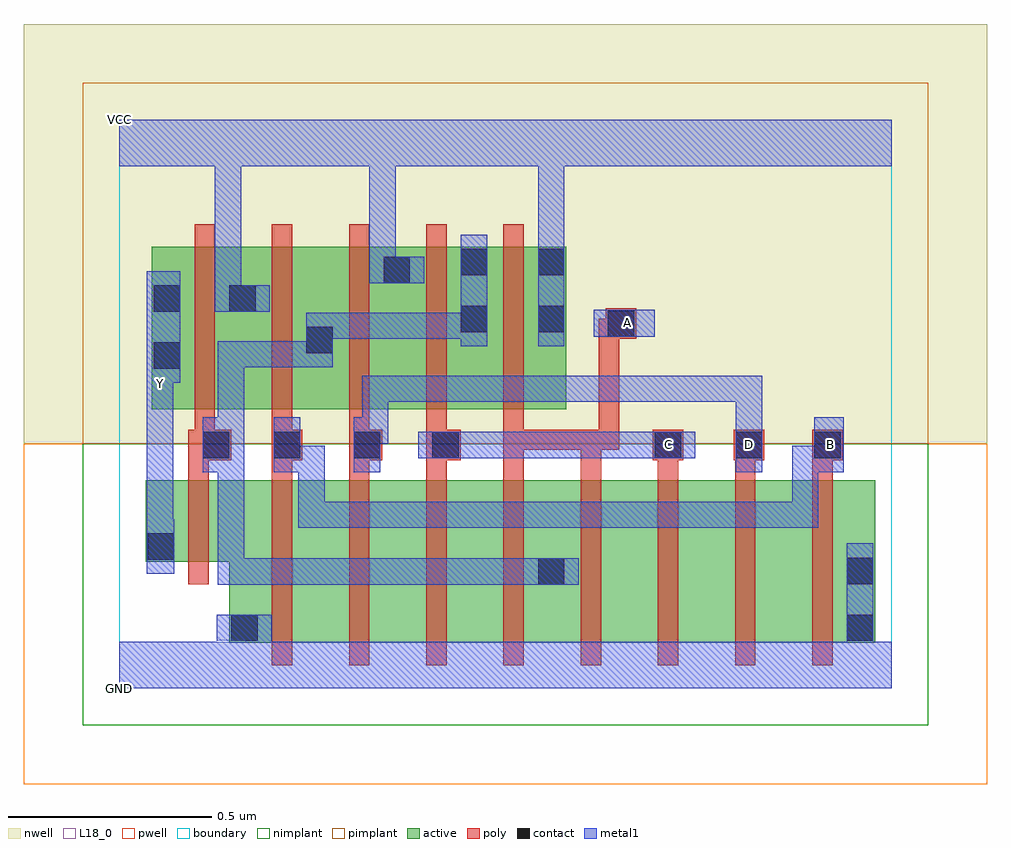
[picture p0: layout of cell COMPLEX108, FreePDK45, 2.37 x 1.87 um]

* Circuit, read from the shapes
.subckt COMPLEX108 A B C D GND VCC Y
M1 GND n1 Y VSUBS nfet w=0.2u l=0.05u
M2 n2 B GND VSUBS nfet w=0.4u l=0.05u
M3 n3 D n2 VSUBS nfet w=0.4u l=0.05u
M4 n4 C n3 VSUBS nfet w=0.4u l=0.05u
M5 n1 A n4 VSUBS nfet w=0.4u l=0.05u
M6 n5 A n1 VSUBS nfet w=0.4u l=0.05u
M7 n6 C n5 VSUBS nfet w=0.4u l=0.05u
M8 n7 D n6 VSUBS nfet w=0.4u l=0.05u
M9 GND B n7 VSUBS nfet w=0.4u l=0.05u
M10 VCC n1 Y n8 pfet w=0.4u l=0.05u
M11 n1 B VCC n8 pfet w=0.4u l=0.05u
M12 VCC D n1 n8 pfet w=0.4u l=0.05u
M13 n1 C VCC n8 pfet w=0.4u l=0.05u
M14 VCC A n1 n8 pfet w=0.4u l=0.05u
.ends

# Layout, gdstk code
import gdstk
lib = gdstk.Library(unit=1e-6, precision=1e-09)
def R(c, l, rs):  # rectangles x0, y0, x1, y1
    for r in rs: c.add(gdstk.rectangle(r[:2], r[2:], *l))
def A(c, l, x, y, w, h, nx, ny, dx, dy):  # array of equal rectangles
    R(c, l, [(x+i*dx, y+j*dy, x+i*dx+w, y+j*dy+h) for i in range(nx) for j in range(ny)])
active = (1, 0)
pwell = (2, 0)
nwell = (3, 0)
nimplant = (4, 0)
pimplant = (5, 0)
poly = (9, 0)
contact = (10, 0)
metal1 = (11, 0)
L18_0 = (18, 0)
boundary = (235, 0)

complex108 = lib.new_cell('COMPLEX108')
A(complex108, active, 0.265, 0.687, 0.265, 0.4, 4, 1, 0.19, 0)
R(complex108, active, [(0.27,0.112,0.345,0.512), (0.27,0.112,0.495,0.512), (0.495,0.112,0.685,0.512), (0.685,0.112,0.875,0.512), (0.875,0.112,1.1,0.512), (1.025,0.112,1.255,0.512), (1.255,0.112,1.445,0.512), (1.445,0.112,1.635,0.512), (1.635,0.112,1.86,0.512), (1.785,0.112,1.86,0.512), (1.025,0.147,1.1,0.492), (0.065,0.312,0.345,0.512), (0.065,0.312,0.14,0.512), (0.08,0.687,0.155,1.067), (0.08,0.687,0.34,1.087), (0.455,0.687,0.53,1.067), (1.025,0.72,1.1,1.087), (0.265,0.802,0.34,1.067), (0.835,0.802,0.91,1.087), (0.645,0.907,0.72,1.067)])
R(complex108, pwell, [(-0.235,-0.235,2.135,0.602)])
R(complex108, nwell, [(-0.235,0.602,2.135,1.635)])
R(complex108, nimplant, [(-0.09,-0.09,1.99,0.602)])
R(complex108, pimplant, [(-0.09,0.602,1.99,1.49)])
A(complex108, poly, 0.375, 0.057, 0.05, 0.51, 8, 1, 0.19, 0)
A(complex108, poly, 0.375, 0.517, 0.05, 0.095, 3, 1, 0.19, 0)
A(complex108, poly, 1.325, 0.517, 0.05, 0.095, 3, 1, 0.19, 0)
A(complex108, poly, 0.185, 0.587, 0.05, 0.095, 5, 1, 0.19, 0)
A(complex108, poly, 0.185, 0.632, 0.05, 0.51, 5, 1, 0.19, 0)
R(complex108, poly, [(0.17,0.257,0.22,0.567), (0.17,0.517,0.22,0.612), (0.945,0.517,0.995,0.637), (1.135,0.517,1.185,0.637), (0.17,0.562,0.275,0.637), (0.375,0.562,0.45,0.637), (0.565,0.562,0.647,0.637), (0.755,0.562,0.84,0.637), (1.312,0.562,1.387,0.637), (1.512,0.562,1.587,0.637), (1.705,0.562,1.78,0.637), (0.945,0.587,0.995,0.637), (0.945,0.587,1.185,0.637), (1.135,0.587,1.185,0.637), (1.135,0.587,1.185,0.637), (1.135,0.587,1.23,0.637), (1.18,0.587,1.23,0.91), (1.18,0.86,1.247,0.91), (1.197,0.86,1.272,0.935), (1.197,0.86,1.247,0.91)])
R(complex108, contact, [(0.275,0.117,0.34,0.182), (1.79,0.117,1.855,0.182), (1.03,0.255,1.095,0.32), (1.79,0.257,1.855,0.322), (0.07,0.317,0.135,0.382), (0.205,0.567,0.27,0.632), (0.38,0.567,0.445,0.632), (0.577,0.567,0.642,0.632), (0.77,0.567,0.835,0.632), (1.317,0.567,1.382,0.632), (1.517,0.567,1.582,0.632), (1.71,0.567,1.775,0.632), (0.085,0.787,0.15,0.852), (0.46,0.825,0.525,0.89), (1.202,0.865,1.267,0.93), (0.84,0.877,0.905,0.942), (1.03,0.877,1.095,0.942), (0.085,0.927,0.15,0.992), (0.27,0.927,0.335,0.992), (0.65,0.997,0.715,1.062), (0.84,1.017,0.905,1.082), (1.03,1.017,1.095,1.082)])
R(complex108, metal1, [(0,0,1.9,0.115), (0.31,0.05,0.375,0.182), (1.79,0.05,1.855,0.147), (1.79,0.082,1.855,0.357), (0.24,0.117,0.375,0.182), (0.242,0.255,0.307,0.32), (0.242,0.255,0.307,0.32), (0.242,0.255,0.307,0.32), (0.242,0.255,0.407,0.32), (0.242,0.255,0.307,0.597), (0.342,0.255,0.407,0.32), (0.342,0.255,0.525,0.32), (0.46,0.255,0.525,0.32), (0.46,0.255,0.662,0.32), (0.597,0.255,0.662,0.32), (0.597,0.255,0.662,0.32), (0.597,0.255,0.662,0.32), (0.597,0.255,0.905,0.32), (0.84,0.255,0.905,0.32), (0.84,0.255,0.905,0.32), (0.84,0.255,0.905,0.32), (0.84,0.255,1.06,0.32), (0.995,0.255,1.06,0.32), (0.995,0.255,1.06,0.32), (0.995,0.255,1.13,0.32), (0.067,0.282,0.135,0.417), (0.067,0.352,0.132,0.747), (0.44,0.395,0.505,0.597), (0.44,0.395,0.505,0.46), (0.44,0.395,0.662,0.46), (0.597,0.395,0.662,0.46), (0.597,0.395,0.662,0.46), (0.597,0.395,0.662,0.46), (0.597,0.395,0.905,0.46), (0.84,0.395,0.905,0.46), (0.84,0.395,0.905,0.46), (0.84,0.395,0.905,0.46), (0.84,0.395,1.042,0.46), (0.977,0.395,1.042,0.46), (0.977,0.395,1.197,0.46), (1.132,0.395,1.197,0.46), (1.132,0.395,1.197,0.46), (1.132,0.395,1.197,0.46), (1.132,0.395,1.335,0.46), (1.27,0.395,1.335,0.46), (1.27,0.395,1.335,0.46), (1.27,0.395,1.335,0.46), (1.27,0.395,1.582,0.46), (1.517,0.395,1.582,0.46), (1.517,0.395,1.582,0.46), (1.517,0.395,1.582,0.46), (1.517,0.395,1.72,0.46), (1.655,0.395,1.72,0.597), (1.655,0.395,1.72,0.46), (0.205,0.532,0.27,0.667), (0.205,0.532,0.307,0.597), (0.242,0.532,0.307,0.597), (0.242,0.532,0.307,0.855), (0.38,0.532,0.445,0.667), (0.38,0.532,0.505,0.597), (0.44,0.532,0.505,0.597), (0.577,0.532,0.642,0.667), (1.517,0.532,1.582,0.667), (1.655,0.532,1.775,0.597), (1.655,0.532,1.72,0.597), (1.71,0.532,1.782,0.667), (0.735,0.567,0.87,0.632), (0.805,0.567,0.87,0.632), (0.805,0.567,0.87,0.632), (0.805,0.567,1.06,0.632), (0.995,0.567,1.06,0.632), (0.995,0.567,1.06,0.632), (0.995,0.567,1.06,0.632), (0.995,0.567,1.197,0.632), (1.132,0.567,1.197,0.632), (1.132,0.567,1.347,0.632), (1.282,0.567,1.347,0.632), (1.282,0.567,1.347,0.632), (1.282,0.567,1.417,0.632), (0.577,0.602,0.662,0.667), (0.597,0.602,0.662,0.667), (0.597,0.602,0.662,0.77), (1.517,0.602,1.582,0.667), (1.517,0.602,1.582,0.667), (1.517,0.602,1.582,0.77), (0.067,0.682,0.132,0.817), (0.597,0.705,0.662,0.77), (0.597,0.705,0.905,0.77), (0.84,0.705,0.905,0.77), (0.84,0.705,0.905,0.77), (0.84,0.705,0.905,0.77), (0.84,0.705,1.042,0.77), (0.977,0.705,1.042,0.77), (0.977,0.705,1.042,0.77), (0.977,0.705,1.042,0.77), (0.977,0.705,1.197,0.77), (1.132,0.705,1.197,0.77), (1.132,0.705,1.445,0.77), (1.38,0.705,1.445,0.77), (1.38,0.705,1.445,0.77), (1.38,0.705,1.445,0.77), (1.38,0.705,1.582,0.77), (1.517,0.705,1.582,0.77), (0.067,0.752,0.132,0.817), (0.067,0.752,0.15,1.027), (0.242,0.79,0.307,0.855), (0.242,0.79,0.407,0.855), (0.342,0.79,0.407,0.855), (0.342,0.79,0.525,0.855), (0.46,0.79,0.525,0.925), (0.84,0.842,0.905,1.117), (1.03,0.842,1.095,1.117), (0.46,0.86,0.525,0.925), (0.46,0.86,0.525,0.925), (0.46,0.86,0.662,0.925), (0.597,0.86,0.662,0.925), (0.597,0.86,0.662,0.925), (0.597,0.86,0.662,0.925), (0.597,0.86,0.905,0.925), (0.84,0.86,0.905,0.925), (0.84,0.86,0.905,0.925), (1.167,0.865,1.317,0.932), (0.235,0.927,0.37,0.992), (0.235,0.927,0.3,1.35), (0.615,0.997,0.68,1.062), (0.615,0.997,0.68,1.062), (0.615,0.997,0.75,1.062), (0.615,0.997,0.68,1.35), (1.03,1.052,1.095,1.117), (1.03,1.052,1.095,1.117), (1.03,1.052,1.095,1.35), (0,1.285,1.9,1.4), (0.235,1.285,0.3,1.35), (0.235,1.285,0.3,1.35)])
A(complex108, L18_0, 1.317, 0.567, 0.065, 0.065, 3, 1, 0.2, 0)
R(complex108, L18_0, [(0,0,1.9,0.115), (0.31,0.05,0.375,0.182), (1.79,0.05,1.855,0.147), (1.79,0.082,1.855,0.357), (0.24,0.117,0.375,0.182), (0.067,0.282,0.135,0.417), (0.067,0.352,0.132,0.747), (0.44,0.395,0.505,0.46), (0.44,0.395,0.505,0.597), (0.44,0.395,0.662,0.46), (0.597,0.395,0.662,0.46), (0.597,0.395,0.662,0.46), (0.597,0.395,0.662,0.46), (0.597,0.395,0.905,0.46), (0.84,0.395,0.905,0.46), (0.84,0.395,0.905,0.46), (0.84,0.395,0.905,0.46), (0.84,0.395,1.042,0.46), (0.977,0.395,1.042,0.46), (0.977,0.395,1.197,0.46), (1.132,0.395,1.197,0.46), (1.132,0.395,1.197,0.46), (1.132,0.395,1.197,0.46), (1.132,0.395,1.335,0.46), (1.27,0.395,1.335,0.46), (1.27,0.395,1.335,0.46), (1.27,0.395,1.335,0.46), (1.27,0.395,1.582,0.46), (1.517,0.395,1.582,0.46), (1.517,0.395,1.582,0.46), (1.517,0.395,1.582,0.46), (1.517,0.395,1.72,0.46), (1.655,0.395,1.72,0.46), (1.655,0.395,1.72,0.597), (0.38,0.532,0.445,0.667), (0.38,0.532,0.505,0.597), (0.44,0.532,0.505,0.597), (0.577,0.532,0.642,0.667), (1.517,0.532,1.582,0.667), (1.655,0.532,1.72,0.597), (1.655,0.532,1.775,0.597), (1.71,0.532,1.782,0.667), (0.735,0.567,0.87,0.632), (0.805,0.567,0.87,0.632), (0.805,0.567,0.87,0.632), (0.805,0.567,1.06,0.632), (0.995,0.567,1.06,0.632), (0.995,0.567,1.06,0.632), (0.995,0.567,1.06,0.632), (0.995,0.567,1.197,0.632), (1.132,0.567,1.197,0.632), (1.132,0.567,1.347,0.632), (1.282,0.567,1.347,0.632), (1.282,0.567,1.347,0.632), (1.282,0.567,1.417,0.632), (0.577,0.602,0.662,0.667), (0.597,0.602,0.662,0.667), (0.597,0.602,0.662,0.77), (1.517,0.602,1.582,0.667), (1.517,0.602,1.582,0.667), (1.517,0.602,1.582,0.77), (0.067,0.682,0.132,0.817), (0.597,0.705,0.662,0.77), (0.597,0.705,0.905,0.77), (0.84,0.705,0.905,0.77), (0.84,0.705,0.905,0.77), (0.84,0.705,0.905,0.77), (0.84,0.705,1.042,0.77), (0.977,0.705,1.042,0.77), (0.977,0.705,1.042,0.77), (0.977,0.705,1.042,0.77), (0.977,0.705,1.197,0.77), (1.132,0.705,1.197,0.77), (1.132,0.705,1.445,0.77), (1.38,0.705,1.445,0.77), (1.38,0.705,1.445,0.77), (1.38,0.705,1.445,0.77), (1.38,0.705,1.582,0.77), (1.517,0.705,1.582,0.77), (0.067,0.717,0.132,0.782), (0.067,0.752,0.15,1.027), (0.067,0.752,0.132,0.817), (1.03,0.842,1.095,1.117), (1.167,0.865,1.317,0.932), (1.217,0.867,1.282,0.932), (0.235,0.927,0.37,0.992), (0.235,0.927,0.3,1.35), (0.615,0.997,0.68,1.062), (0.615,0.997,0.68,1.062), (0.615,0.997,0.75,1.062), (0.615,0.997,0.68,1.35), (1.03,1.052,1.095,1.117), (1.03,1.052,1.095,1.117), (1.03,1.052,1.095,1.35), (0,1.285,1.9,1.4), (0.235,1.285,0.3,1.35), (0.235,1.285,0.3,1.35)])
R(complex108, boundary, [(0,0,1.9,1.4)])
complex108.add(gdstk.Label('A', (1.25,0.9), layer=11, texttype=0))
complex108.add(gdstk.Label('B', (1.75,0.6), layer=11, texttype=0))
complex108.add(gdstk.Label('C', (1.35,0.6), layer=11, texttype=0))
complex108.add(gdstk.Label('D', (1.55,0.6), layer=11, texttype=0))
complex108.add(gdstk.Label('Y', (0.1,0.75), layer=11, texttype=0))
complex108.add(gdstk.Label('VCC', (0,1.4), layer=11, texttype=0))
complex108.add(gdstk.Label('GND', (0,0), layer=11, texttype=0))

lib.write_gds('COMPLEX108.gds')
